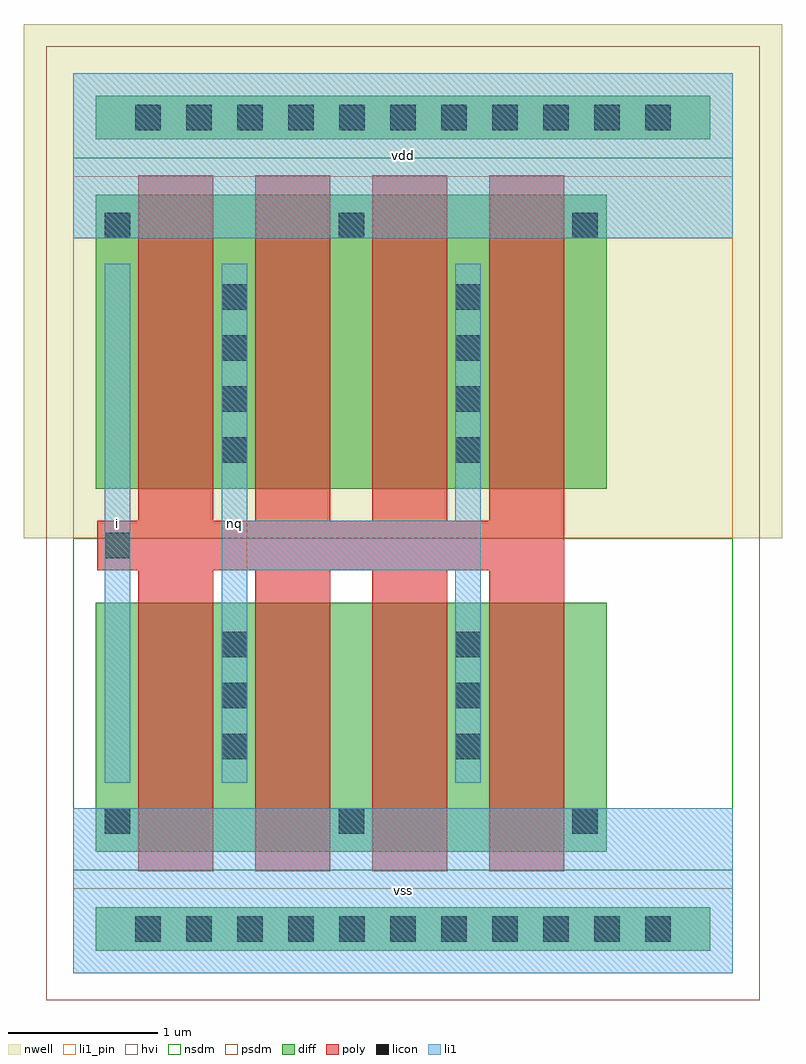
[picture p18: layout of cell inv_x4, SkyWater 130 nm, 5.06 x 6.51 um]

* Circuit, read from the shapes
.subckt inv_x4 i nq vdd vss
XM1 nq i vss VSUBS sky130_fd_pr__nfet_g5v0d10v5 w=1.66 l=0.5 m=4
XM2 nq i vdd n1 sky130_fd_pr__pfet_g5v0d10v5 w=1.96 l=0.5 m=4
.ends

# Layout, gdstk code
import gdstk
lib = gdstk.Library(unit=1e-6, precision=1e-09)
def R(c, l, rs):  # rectangles x0, y0, x1, y1
    for r in rs: c.add(gdstk.rectangle(r[:2], r[2:], *l))
def A(c, l, x, y, w, h, nx, ny, dx, dy):  # array of equal rectangles
    R(c, l, [(x+i*dx, y+j*dy, x+i*dx+w, y+j*dy+h) for i in range(nx) for j in range(ny)])
def P(c, l, *ps):  # polygons
    for p in ps: c.add(gdstk.Polygon(p, *l))
nwell = (64, 20)
diff = (65, 20)
poly = (66, 20)
licon = (66, 44)
li1_pin = (67, 16)
li1 = (67, 20)
hvi = (75, 20)
nsdm = (93, 44)
psdm = (94, 20)

inv_x4 = lib.new_cell('inv_x4')
R(inv_x4, nwell, [(-0.33,2.9,4.73,6.33)])
R(inv_x4, diff, [(0.15,0.15,4.25,0.44), (0.15,0.81,3.56,2.47), (0.15,3.23,3.56,5.19), (0.15,5.56,4.25,5.85)])
P(inv_x4, poly, [(0.435,0.68),(0.435,2.685),(0.16,2.685),(0.16,3.015),(0.435,3.015),(0.435,5.32),(0.935,5.32),(0.935,3.015),(1.215,3.015),(1.215,5.32),(1.715,5.32),(1.715,3.015),(1.995,3.015),(1.995,5.32),(2.495,5.32),(2.495,3.015),(2.775,3.015),(2.775,5.32),(3.275,5.32),(3.275,0.68),(2.775,0.68),(2.775,2.685),(2.495,2.685),(2.495,0.68),(1.995,0.68),(1.995,2.685),(1.715,2.685),(1.715,0.68),(1.215,0.68),(1.215,2.685),(0.935,2.685),(0.935,0.68)])
A(inv_x4, licon, 0.415, 0.21, 0.17, 0.17, 11, 2, 0.34, 5.41)
A(inv_x4, licon, 0.21, 0.93, 0.17, 0.17, 3, 2, 1.56, 3.97)
A(inv_x4, licon, 0.99, 1.425, 0.17, 0.17, 1, 3, 0, 0.34)
A(inv_x4, licon, 2.55, 1.425, 0.17, 0.17, 1, 3, 0, 0.34)
A(inv_x4, licon, 0.99, 3.405, 0.17, 0.17, 1, 4, 0, 0.34)
A(inv_x4, licon, 2.55, 3.405, 0.17, 0.17, 1, 4, 0, 0.34)
R(inv_x4, licon, [(0.21,2.765,0.38,2.935)])
R(inv_x4, li1_pin, [(0,0,4.4,1.1), (0.21,1.27,0.38,4.73), (0.99,1.27,1.16,4.73), (0,4.9,4.4,6)])
R(inv_x4, li1, [(0,0,4.4,1.1), (0.21,1.27,0.38,4.73), (0,4.9,4.4,6)])
P(inv_x4, li1, [(0.99,1.27),(0.99,4.73),(1.16,4.73),(1.16,3.015),(2.55,3.015),(2.55,4.73),(2.72,4.73),(2.72,1.27),(2.55,1.27),(2.55,2.685),(1.16,2.685),(1.16,1.27)])
R(inv_x4, hvi, [(-0.18,-0.18,4.58,6.18)])
R(inv_x4, nsdm, [(0,0.685,4.4,2.9), (0,5.435,4.4,6)])
R(inv_x4, psdm, [(0,0,4.4,0.565), (0,2.9,4.4,5.315)])
inv_x4.add(gdstk.Label('vss', (2.2,0.55), layer=67, texttype=16))
inv_x4.add(gdstk.Label('vdd', (2.2,5.45), layer=67, texttype=16))
inv_x4.add(gdstk.Label('nq', (1.075,3), layer=67, texttype=16))
inv_x4.add(gdstk.Label('i', (0.295,3), layer=67, texttype=16))

lib.write_gds('inv_x4.gds')
